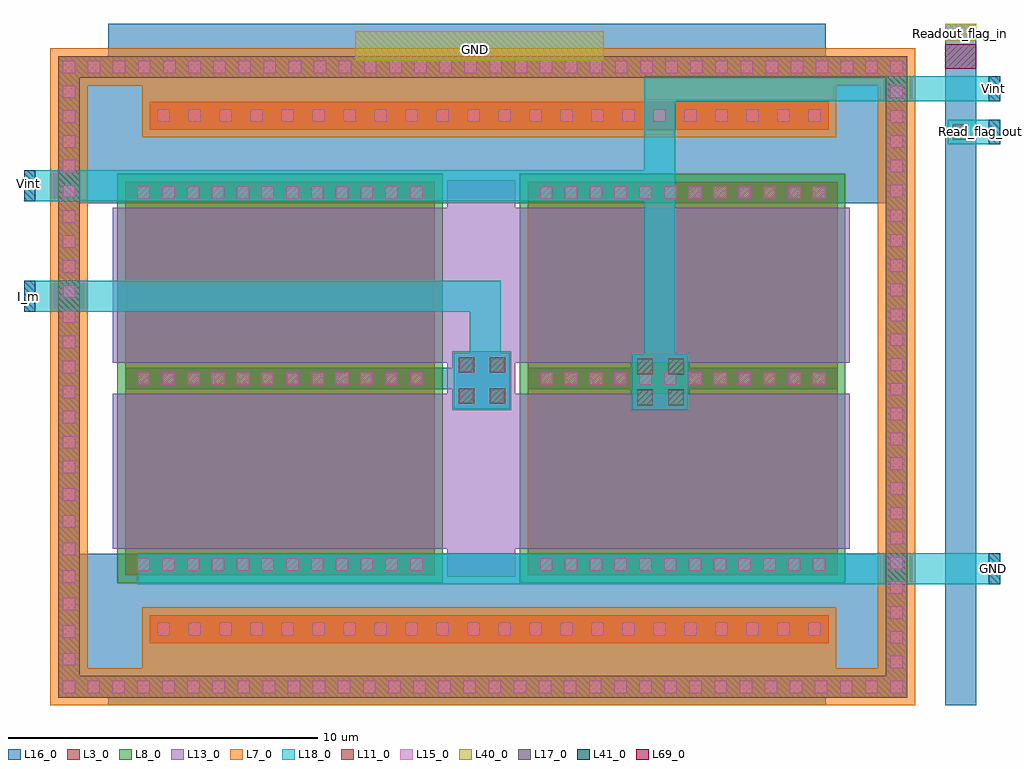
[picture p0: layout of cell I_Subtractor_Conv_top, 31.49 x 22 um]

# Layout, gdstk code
from math import pi, radians
import gdstk
lib = gdstk.Library(unit=1e-6, precision=1e-09)
def R(c, l, rs):  # rectangles x0, y0, x1, y1
    for r in rs: c.add(gdstk.rectangle(r[:2], r[2:], *l))
def A(c, l, x, y, w, h, nx, ny, dx, dy):  # array of equal rectangles
    R(c, l, [(x+i*dx, y+j*dy, x+i*dx+w, y+j*dy+h) for i in range(nx) for j in range(ny)])
L3_0 = (3, 0)
L7_0 = (7, 0)
L8_0 = (8, 0)
L11_0 = (11, 0)
L13_0 = (13, 0)
L15_0 = (15, 0)
L16_0 = (16, 0)
L17_0 = (17, 0)
L18_0 = (18, 0)
L40_0 = (40, 0)
L41_0 = (41, 0)
L69_0 = (69, 0)

nch_cdns_761869680710 = lib.new_cell('nch_CDNS_761869680710')
A(nch_cdns_761869680710, L3_0, -0.85, 0, 0.7, 10, 3, 1, 6, 0)
R(nch_cdns_761869680710, L3_0, [(-0.85,0,-0.15,10), (-0.15,0,5.15,10), (5.85,0,11.15,10), (11.15,0,11.85,10)])
R(nch_cdns_761869680710, L8_0, [(-1.1,-0.25,12.1,10.25)])
R(nch_cdns_761869680710, L13_0, [(0,-0.4,5,10.4), (6,-0.4,11,10.4)])
A(nch_cdns_761869680710, L15_0, -0.7, 0.4, 0.4, 0.4, 3, 12, 6, 0.8)
A(nch_cdns_761869680710, L16_0, -0.85, 0, 0.7, 10, 3, 1, 6, 0)
nch_cdns_761869680710.add(gdstk.Label('D', (5.5,5), layer=59, texttype=0))
nch_cdns_761869680710.add(gdstk.Label('S', (-0.5,5), layer=59, texttype=0))
nch_cdns_761869680710.add(gdstk.Label('S', (11.5,5), layer=59, texttype=0))
nch_cdns_761869680710.add(gdstk.Label('G', (8.5,5), layer=59, texttype=0))
nch_cdns_761869680710.add(gdstk.Label('G', (2.5,5), layer=59, texttype=0))
nch_cdns_761869680710.add(gdstk.Label('& SerialNumber 000000', (0,0), layer=16, texttype=0))
nch_cdns_761869680710.add(gdstk.Label('& Distributor VIS', (0,0), layer=16, texttype=0))
nch_cdns_761869680710.add(gdstk.Label('& Metric 1', (0,0), layer=16, texttype=0))
nch_cdns_761869680710.add(gdstk.Label('& Version    \t  1.7A', (0,0), layer=16, texttype=0))
nch_cdns_761869680710.add(gdstk.Label('& PDKName     vis35cv', (0,0), layer=16, texttype=0))
nch_cdns_761869680710.add(gdstk.Label('& Vendor VIS Corp.', (0,0), layer=16, texttype=0))
nch_cdns_761869680710.add(gdstk.Label('& SerialNumber 000000', (0,0), layer=63, texttype=63))
nch_cdns_761869680710.add(gdstk.Label('& Distributor VIS', (0,0), layer=63, texttype=63))
nch_cdns_761869680710.add(gdstk.Label('& Metric 1', (0,0), layer=63, texttype=63))
nch_cdns_761869680710.add(gdstk.Label('& Version    \t  1.7A', (0,0), layer=63, texttype=63))
nch_cdns_761869680710.add(gdstk.Label('& PDKName     vis35cv', (0,0), layer=63, texttype=63))
nch_cdns_761869680710.add(gdstk.Label('& Vendor VIS Corp.', (0,0), layer=63, texttype=63))

m1_poly1_cdns_7618696807 = lib.new_cell('M1_POLY1_CDNS_761869680710')
R(m1_poly1_cdns_7618696807, L13_0, [(-0.9,-0.9,0.9,0.9)])
R(m1_poly1_cdns_7618696807, L15_0, [(-0.7,-0.7,-0.3,-0.3), (0.3,-0.7,0.7,-0.3), (-0.7,0.3,-0.3,0.7), (0.3,0.3,0.7,0.7)])
R(m1_poly1_cdns_7618696807, L16_0, [(-0.85,-0.85,0.85,0.85)])

m2_m1_cdns_761869680711 = lib.new_cell('M2_M1_CDNS_761869680711')
R(m2_m1_cdns_761869680711, L16_0, [(-0.95,-0.95,0.95,0.95)])
R(m2_m1_cdns_761869680711, L17_0, [(-0.75,-0.75,-0.25,-0.25), (0.25,-0.75,0.75,-0.25), (-0.75,0.25,-0.25,0.75), (0.25,0.25,0.75,0.75)])
R(m2_m1_cdns_761869680711, L18_0, [(-0.9,-0.9,0.9,0.9)])

m1_pactive_cdns_76186968 = lib.new_cell('M1_PACTIVE_CDNS_761869680712')
R(m1_pactive_cdns_76186968, L3_0, [(-10.95,-0.45,10.95,0.45)])
R(m1_pactive_cdns_76186968, L7_0, [(-11.2,-0.7,11.2,0.7)])
A(m1_pactive_cdns_76186968, L15_0, -10.7, -0.2, 0.4, 0.4, 22, 1, 1, 0)
R(m1_pactive_cdns_76186968, L16_0, [(-10.85,-0.35,10.85,0.35)])

m2_m1_cdns_761869680713 = lib.new_cell('M2_M1_CDNS_761869680713')
R(m2_m1_cdns_761869680713, L16_0, [(-0.45,-0.45,0.45,0.45)])
R(m2_m1_cdns_761869680713, L17_0, [(-0.25,-0.25,0.25,0.25)])
R(m2_m1_cdns_761869680713, L18_0, [(-0.4,-0.4,0.4,0.4)])

i_subtractor_conv_top = lib.new_cell('I_Subtractor_Conv_top')
R(i_subtractor_conv_top, L7_0, [(3.81,1.2,26.21,1.76), (3.81,19.73,26.21,20)])
R(i_subtractor_conv_top, L13_0, [(13.66,4.15,14.82,16.95), (14.82,4.15,15.85,16.95)])
R(i_subtractor_conv_top, L15_0, [(1.25,0.4,1.65,0.8), (1.25,0.4,1.65,0.8), (2.05,0.4,2.45,0.8), (2.05,0.4,2.45,0.8), (2.85,0.4,3.25,0.8), (2.85,0.4,3.25,0.8), (3.65,0.4,4.05,0.8), (3.65,0.4,4.05,0.8), (4.46,0.4,4.86,0.8), (4.46,0.4,4.86,0.8), (5.27,0.4,5.67,0.8), (5.27,0.4,5.67,0.8), (6.08,0.4,6.48,0.8), (6.08,0.4,6.48,0.8), (6.89,0.4,7.29,0.8), (6.89,0.4,7.29,0.8), (7.7,0.4,8.1,0.8), (7.7,0.4,8.1,0.8), (8.51,0.4,8.91,0.8), (8.51,0.4,8.91,0.8), (9.32,0.4,9.72,0.8), (9.32,0.4,9.72,0.8), (10.13,0.4,10.53,0.8), (10.13,0.4,10.53,0.8), (10.94,0.4,11.34,0.8), (10.94,0.4,11.34,0.8), (11.75,0.4,12.15,0.8), (11.75,0.4,12.15,0.8), (12.56,0.4,12.96,0.8), (12.56,0.4,12.96,0.8), (13.37,0.4,13.77,0.8), (13.37,0.4,13.77,0.8), (14.18,0.4,14.58,0.8), (14.18,0.4,14.58,0.8), (14.99,0.4,15.39,0.8), (14.99,0.4,15.39,0.8), (15.8,0.4,16.2,0.8), (15.8,0.4,16.2,0.8), (16.61,0.4,17.01,0.8), (16.61,0.4,17.01,0.8), (17.42,0.4,17.82,0.8), (17.42,0.4,17.82,0.8), (18.23,0.4,18.63,0.8), (18.23,0.4,18.63,0.8), (19.04,0.4,19.44,0.8), (19.04,0.4,19.44,0.8), (19.85,0.4,20.25,0.8), (19.85,0.4,20.25,0.8), (20.66,0.4,21.06,0.8), (20.66,0.4,21.06,0.8), (21.47,0.4,21.87,0.8), (21.47,0.4,21.87,0.8), (22.28,0.4,22.68,0.8), (22.28,0.4,22.68,0.8), (23.09,0.4,23.49,0.8), (23.09,0.4,23.49,0.8), (23.9,0.4,24.3,0.8), (23.9,0.4,24.3,0.8), (24.71,0.4,25.11,0.8), (24.71,0.4,25.11,0.8), (25.52,0.4,25.92,0.8), (25.52,0.4,25.92,0.8), (26.33,0.4,26.73,0.8), (26.33,0.4,26.73,0.8), (27.14,0.4,27.54,0.8), (27.14,0.4,27.54,0.8), (27.95,0.4,28.35,0.8), (27.95,0.4,28.35,0.8), (27.95,1.2,28.35,1.6), (27.95,1.2,28.35,1.6), (1.25,1.29,1.65,1.69), (1.25,1.29,1.65,1.69), (27.95,2,28.35,2.4), (27.95,2,28.35,2.4), (1.25,2.18,1.65,2.58), (1.25,2.18,1.65,2.58), (27.95,2.8,28.35,3.2), (27.95,2.8,28.35,3.2), (1.25,3.07,1.65,3.47), (1.25,3.07,1.65,3.47), (27.95,3.6,28.35,4), (27.95,3.6,28.35,4), (1.25,3.96,1.65,4.36), (1.25,3.96,1.65,4.36), (27.95,4.4,28.35,4.8), (27.95,4.4,28.35,4.8), (1.25,4.85,1.65,5.25), (1.25,4.85,1.65,5.25), (27.95,5.2,28.35,5.6), (27.95,5.2,28.35,5.6), (1.25,5.73,1.65,6.13), (1.25,5.73,1.65,6.13), (27.95,6,28.35,6.4), (27.95,6,28.35,6.4), (1.25,6.61,1.65,7.01), (1.25,6.61,1.65,7.01), (27.95,6.8,28.35,7.2), (27.95,6.8,28.35,7.2), (1.25,7.49,1.65,7.89), (1.25,7.49,1.65,7.89), (27.95,7.6,28.35,8), (27.95,7.6,28.35,8), (1.25,8.29,1.65,8.69), (1.25,8.29,1.65,8.69), (27.95,8.4,28.35,8.8), (27.95,8.4,28.35,8.8), (1.25,9.1,1.65,9.5), (1.25,9.1,1.65,9.5), (27.95,9.2,28.35,9.6), (27.95,9.2,28.35,9.6), (1.25,9.91,1.65,10.31), (1.25,9.91,1.65,10.31), (27.95,10,28.35,10.4), (27.95,10,28.35,10.4), (1.25,10.72,1.65,11.12), (1.25,10.72,1.65,11.12), (27.95,10.8,28.35,11.2), (27.95,10.8,28.35,11.2), (1.25,11.53,1.65,11.93), (1.25,11.53,1.65,11.93), (27.95,11.6,28.35,12), (27.95,11.6,28.35,12), (1.25,12.34,1.65,12.74), (1.25,12.34,1.65,12.74), (27.95,12.4,28.35,12.8), (27.95,12.4,28.35,12.8), (1.25,13.15,1.65,13.55), (1.25,13.15,1.65,13.55), (27.95,13.2,28.35,13.6), (27.95,13.2,28.35,13.6), (1.25,13.96,1.65,14.36), (1.25,13.96,1.65,14.36), (27.95,14,28.35,14.4), (27.95,14,28.35,14.4), (1.25,14.77,1.65,15.17), (1.25,14.77,1.65,15.17), (27.95,14.8,28.35,15.2), (27.95,14.8,28.35,15.2), (1.25,15.58,1.65,15.98), (1.25,15.58,1.65,15.98), (27.95,15.6,28.35,16), (27.95,15.6,28.35,16), (1.25,16.39,1.65,16.79), (1.25,16.39,1.65,16.79), (27.95,16.4,28.35,16.8), (27.95,16.4,28.35,16.8), (1.25,17.2,1.65,17.6), (1.25,17.2,1.65,17.6), (27.95,17.2,28.35,17.6), (27.95,17.2,28.35,17.6), (1.25,18,1.65,18.4), (1.25,18,1.65,18.4), (27.95,18,28.35,18.4), (27.95,18,28.35,18.4), (1.25,18.8,1.65,19.2), (1.25,18.8,1.65,19.2), (27.95,18.8,28.35,19.2), (27.95,18.8,28.35,19.2), (1.25,19.6,1.65,20), (1.25,19.6,1.65,20), (27.95,19.6,28.35,20), (27.95,19.6,28.35,20), (1.25,20.4,1.65,20.8), (1.25,20.4,1.65,20.8), (2.06,20.4,2.46,20.8), (2.06,20.4,2.46,20.8), (2.87,20.4,3.27,20.8), (2.87,20.4,3.27,20.8), (3.68,20.4,4.08,20.8), (3.68,20.4,4.08,20.8), (4.49,20.4,4.89,20.8), (4.49,20.4,4.89,20.8), (5.3,20.4,5.7,20.8), (5.3,20.4,5.7,20.8), (6.11,20.4,6.51,20.8), (6.11,20.4,6.51,20.8), (6.92,20.4,7.32,20.8), (6.92,20.4,7.32,20.8), (7.73,20.4,8.13,20.8), (7.73,20.4,8.13,20.8), (8.54,20.4,8.94,20.8), (8.54,20.4,8.94,20.8), (9.35,20.4,9.75,20.8), (9.35,20.4,9.75,20.8), (10.16,20.4,10.56,20.8), (10.16,20.4,10.56,20.8), (10.97,20.4,11.37,20.8), (10.97,20.4,11.37,20.8), (11.78,20.4,12.18,20.8), (11.78,20.4,12.18,20.8), (12.59,20.4,12.99,20.8), (12.59,20.4,12.99,20.8), (13.4,20.4,13.8,20.8), (13.4,20.4,13.8,20.8), (14.21,20.4,14.61,20.8), (14.21,20.4,14.61,20.8), (15.02,20.4,15.42,20.8), (15.02,20.4,15.42,20.8), (15.83,20.4,16.23,20.8), (15.83,20.4,16.23,20.8), (16.64,20.4,17.04,20.8), (16.64,20.4,17.04,20.8), (17.45,20.4,17.85,20.8), (17.45,20.4,17.85,20.8), (18.26,20.4,18.66,20.8), (18.26,20.4,18.66,20.8), (19.07,20.4,19.47,20.8), (19.07,20.4,19.47,20.8), (19.88,20.4,20.28,20.8), (19.88,20.4,20.28,20.8), (20.69,20.4,21.09,20.8), (20.69,20.4,21.09,20.8), (21.5,20.4,21.9,20.8), (21.5,20.4,21.9,20.8), (22.31,20.4,22.71,20.8), (22.31,20.4,22.71,20.8), (23.12,20.4,23.52,20.8), (23.12,20.4,23.52,20.8), (23.93,20.4,24.33,20.8), (23.93,20.4,24.33,20.8), (24.74,20.4,25.14,20.8), (24.74,20.4,25.14,20.8), (25.55,20.4,25.95,20.8), (25.55,20.4,25.95,20.8), (26.35,20.4,26.75,20.8), (26.35,20.4,26.75,20.8), (27.15,20.4,27.55,20.8), (27.15,20.4,27.55,20.8), (27.95,20.4,28.35,20.8), (27.95,20.4,28.35,20.8)])
R(i_subtractor_conv_top, L16_0, [(2.72,0,25.87,2.97), (1.51,0.94,28.01,4.9), (1.51,16.2,28.01,20.55), (2.72,19.03,25.87,22)])
R(i_subtractor_conv_top, L40_0, [(10.68,20.78,18.71,21.76), (29.72,21.45,30.72,22)])
R(i_subtractor_conv_top, L41_0, [(31.12,3.91,31.49,4.91), (0,12.7,0.37,13.7), (0,16.27,0.37,17.27), (31.12,18.1,31.49,18.9), (31.12,19.5,31.49,20.3)])
R(i_subtractor_conv_top, L69_0, [(29.72,20.54,30.72,21.34)])
i_subtractor_conv_top.add(gdstk.FlexPath([(14.88,13.2),(14.88,10.61)], 1, ends=(0.5, 0), simple_path=True, layer=18, datatype=0))  # L18_0
i_subtractor_conv_top.add(gdstk.FlexPath([(0,13.2),(14.88,13.2)], 1, ends=(0, 0.5), simple_path=True, layer=18, datatype=0))  # L18_0
i_subtractor_conv_top.add(gdstk.FlexPath([(20.52,19.9),(31.49,19.9)], 0.8, ends=(0.5, 0), simple_path=True, layer=18, datatype=0))  # L18_0
i_subtractor_conv_top.add(gdstk.FlexPath([(20.52,16.77),(20.52,10.85)], 1, ends=(0.5, 0), simple_path=True, layer=18, datatype=0))  # L18_0
i_subtractor_conv_top.add(gdstk.FlexPath([(20.52,16.77),(20.52,19.9)], 1, ends=(0.5, 0.4), simple_path=True, layer=18, datatype=0))  # L18_0
i_subtractor_conv_top.add(gdstk.FlexPath([(0,16.77),(20.52,16.77)], 1, ends=(0, 0.5), simple_path=True, layer=18, datatype=0))  # L18_0
i_subtractor_conv_top.add(gdstk.FlexPath([(31.49,4.41),(3.65,4.41)], 1, ends="flush", simple_path=True, layer=18, datatype=0))  # L18_0
i_subtractor_conv_top.add(gdstk.FlexPath([(31.49,18.5),(30.21,18.5)], 0.8, ends="flush", simple_path=True, layer=18, datatype=0))  # L18_0
i_subtractor_conv_top.add(gdstk.FlexPath([(1.45,8.09),(1.45,20.6),(28.15,20.6),(28.15,0.6),(1.45,0.6),(1.45,8.09)], 0.7, ends="flush", simple_path=True, layer=11, datatype=0))  # L11_0
i_subtractor_conv_top.add(gdstk.FlexPath([(1.45,8.09),(1.45,20.6),(28.15,20.6),(28.15,0.6),(1.45,0.6),(1.45,8.09)], 1.2, ends="flush", simple_path=True, layer=7, datatype=0))  # L7_0
i_subtractor_conv_top.add(gdstk.FlexPath([(1.45,8.09),(1.45,20.6),(28.15,20.6),(28.15,0.6),(1.45,0.6),(1.45,8.09)], 0.7, ends="flush", simple_path=True, layer=16, datatype=0))  # L16_0
i_subtractor_conv_top.add(gdstk.FlexPath([(30.22,22),(30.22,0)], 1, ends="flush", simple_path=True, layer=16, datatype=0))  # L16_0
i_subtractor_conv_top.add(gdstk.FlexPath([(13.26,10.55),(14.02,10.55)], 0.7, ends="flush", simple_path=True, layer=16, datatype=0))  # L16_0
i_subtractor_conv_top.add(gdstk.Reference(nch_cdns_761869680710, (16.25,16.05), rotation=3*pi/2))
i_subtractor_conv_top.add(gdstk.Reference(nch_cdns_761869680710, (3.26,16.05), rotation=3*pi/2))
i_subtractor_conv_top.add(gdstk.Reference(m1_poly1_cdns_7618696807, (14.77,10.48)))
i_subtractor_conv_top.add(gdstk.Reference(m2_m1_cdns_761869680711, (14.77,10.48)))
i_subtractor_conv_top.add(gdstk.Reference(m2_m1_cdns_761869680711, (20.53,10.44)))
i_subtractor_conv_top.add(gdstk.Reference(m1_pactive_cdns_76186968, (15.01,19.03)))
i_subtractor_conv_top.add(gdstk.Reference(m1_pactive_cdns_76186968, (15.01,2.46), x_reflection=True))
i_subtractor_conv_top.add(gdstk.Reference(m2_m1_cdns_761869680713, (30.21,18.5)))
i_subtractor_conv_top.add(gdstk.Label('I_m', (0.15,13.18), layer=41, texttype=0))
i_subtractor_conv_top.add(gdstk.Label('Vint', (31.27,19.9), layer=41, texttype=0))
i_subtractor_conv_top.add(gdstk.Label('Read_flag_out', (31.27,18.51), layer=41, texttype=0))
i_subtractor_conv_top.add(gdstk.Label('GND', (31.27,4.42), layer=41, texttype=0))
i_subtractor_conv_top.add(gdstk.Label('Vint', (0.15,16.84), layer=41, texttype=0))
i_subtractor_conv_top.add(gdstk.Label('Readout_flag_in', (30.22,21.68), layer=40, texttype=0))
i_subtractor_conv_top.add(gdstk.Label('GND', (14.58,21.17), layer=40, texttype=0))

lib.write_gds('I_Subtractor_Conv_top.gds')
